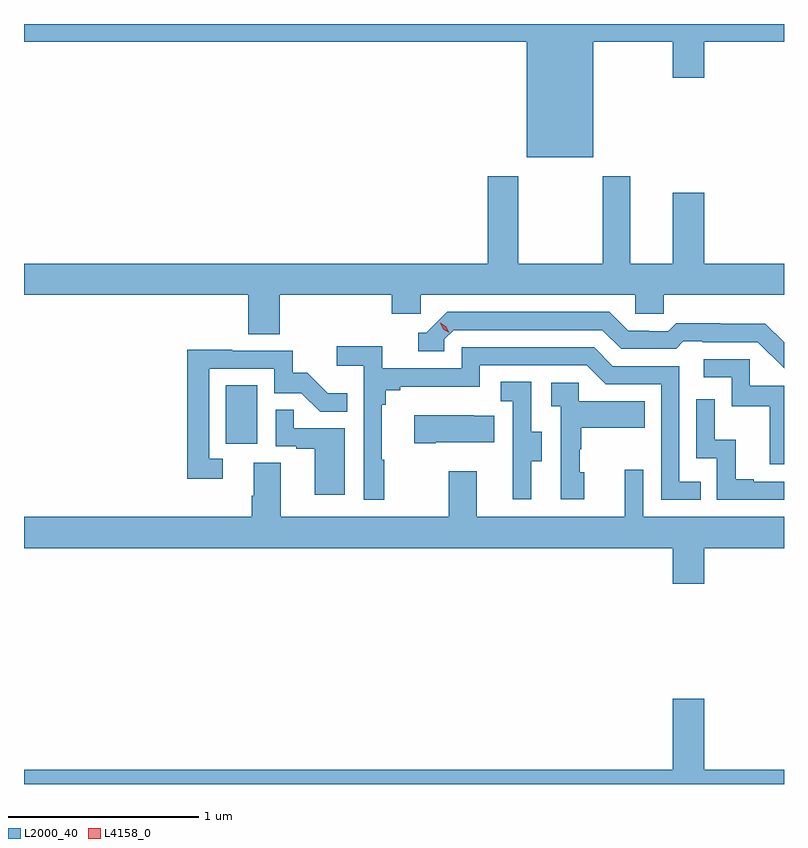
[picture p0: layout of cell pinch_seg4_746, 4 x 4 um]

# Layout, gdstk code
import gdstk
lib = gdstk.Library(unit=1e-6, precision=1e-09)
def R(c, l, rs):  # rectangles x0, y0, x1, y1
    for r in rs: c.add(gdstk.rectangle(r[:2], r[2:], *l))
def P(c, l, *ps):  # polygons
    for p in ps: c.add(gdstk.Polygon(p, *l))
L2000_40 = (2000, 40)
L4158_0 = (4158, 0)

pinch_seg4_746 = lib.new_cell('pinch_seg4_746')
R(pinch_seg4_746, L2000_40, [(881.936,814.686,882.1,814.993)])
P(pinch_seg4_746, L2000_40, [(883.87,816.8),(884.288,816.8),(884.288,816.612),(884.452,816.612),(884.452,816.8),(884.873,816.8),(884.873,816.894),(880.873,816.894),(880.873,816.8),(883.52,816.8),(883.52,816.194),(883.87,816.194)],
  [(882.218,815.468),(882.809,815.468),(882.809,815.37),(882.96,815.37),(882.96,815.468),(884.091,815.468),(884.091,815.37),(884.241,815.37),(884.241,815.468),(884.873,815.468),(884.873,815.632),(884.452,815.632),(884.452,816.007),(884.288,816.007),(884.288,815.632),(884.065,815.632),(884.065,816.094),(883.918,816.094),(883.918,815.632),(883.473,815.632),(883.473,816.094),(883.313,816.094),(883.313,815.632),(880.873,815.632),(880.873,815.468),(882.053,815.468),(882.053,815.26),(882.218,815.26)],
  [(884.873,815.218),(884.774,815.317),(884.538,815.317),(884.538,815.32),(884.305,815.32),(884.263,815.277),(884.16,815.277),(884.16,815.28),(884.053,815.28),(883.954,815.379),(883.101,815.379),(882.99,815.268),(882.947,815.268),(882.947,815.172),(883.086,815.172),(883.086,815.235),(883.134,815.283),(883.917,815.283),(884.016,815.184),(884.305,815.184),(884.344,815.223),(884.443,815.223),(884.443,815.22),(884.736,815.22),(884.873,815.083)],
  [(882.769,814.601),(882.757,814.601),(882.757,814.889),(882.776,814.889),(882.776,814.966),(882.853,814.966),(882.853,814.985),(883.272,814.985),(883.272,815.097),(883.836,815.097),(883.935,814.998),(884.226,814.998),(884.226,814.389),(884.435,814.389),(884.435,814.485),(884.322,814.485),(884.322,815.094),(883.972,815.094),(883.873,815.193),(883.176,815.193),(883.176,815.082),(882.758,815.082),(882.758,815.198),(882.519,815.198),(882.519,815.096),(882.66,815.096),(882.66,814.389),(882.769,814.389)],
  [(881.92,814.605),(881.847,814.605),(881.847,815.079),(882.189,815.079),(882.189,814.95),(882.333,814.95),(882.431,814.852),(882.575,814.852),(882.575,814.951),(882.471,814.951),(882.364,815.058),(882.288,815.058),(882.288,815.175),(881.969,815.175),(881.969,815.18),(881.731,815.18),(881.731,814.5),(881.92,814.5)],
  [(884.873,814.989),(884.694,814.989),(884.694,815.13),(884.451,815.13),(884.451,815.034),(884.598,815.034),(884.598,814.881),(884.797,814.881),(884.797,814.578),(884.873,814.578)],
  [(883.543,814.594),(883.597,814.594),(883.597,814.749),(883.542,814.749),(883.542,815.012),(883.383,815.012),(883.383,814.909),(883.446,814.909),(883.446,814.605),(883.445,814.605),(883.445,814.392),(883.543,814.392)],
  [(883.822,814.536),(883.797,814.536),(883.797,814.655),(883.807,814.655),(883.807,814.769),(884.141,814.769),(884.141,814.909),(883.794,814.909),(883.794,815.007),(883.647,815.007),(883.647,814.883),(883.698,814.883),(883.698,814.392),(883.822,814.392)],
  [(884.873,814.485),(884.713,814.485),(884.713,814.498),(884.618,814.498),(884.618,814.706),(884.508,814.706),(884.508,814.918),(884.412,814.918),(884.412,814.608),(884.52,814.608),(884.52,814.389),(884.873,814.389)],
  [(882.562,814.767),(882.293,814.767),(882.293,814.865),(882.198,814.865),(882.198,814.671),(882.305,814.671),(882.305,814.659),(882.404,814.659),(882.404,814.416),(882.562,814.416)],
  [(883.039,814.694),(883.349,814.694),(883.349,814.831),(883.241,814.831),(883.241,814.834),(882.927,814.834),(882.927,814.687),(883.039,814.687)],
  [(884.452,814.136),(884.873,814.136),(884.873,814.3),(884.133,814.3),(884.133,814.549),(884.036,814.549),(884.036,814.3),(883.255,814.3),(883.255,814.54),(883.108,814.54),(883.108,814.3),(882.223,814.3),(882.223,814.586),(882.083,814.586),(882.083,814.412),(882.071,814.412),(882.071,814.3),(880.873,814.3),(880.873,814.136),(884.288,814.136),(884.288,813.948),(884.452,813.948)],
  [(884.873,812.968),(884.452,812.968),(884.452,813.343),(884.288,813.343),(884.288,812.968),(880.873,812.968),(880.873,812.894),(884.873,812.894)])
P(pinch_seg4_746, L4158_0, [(883.11,815.269),(883.079,815.288),(883.063,815.321),(883.063,815.321),(883.063,815.321),(883.094,815.302),(883.11,815.269),(883.11,815.269)])

lib.write_gds('pinch_seg4_746.gds')
